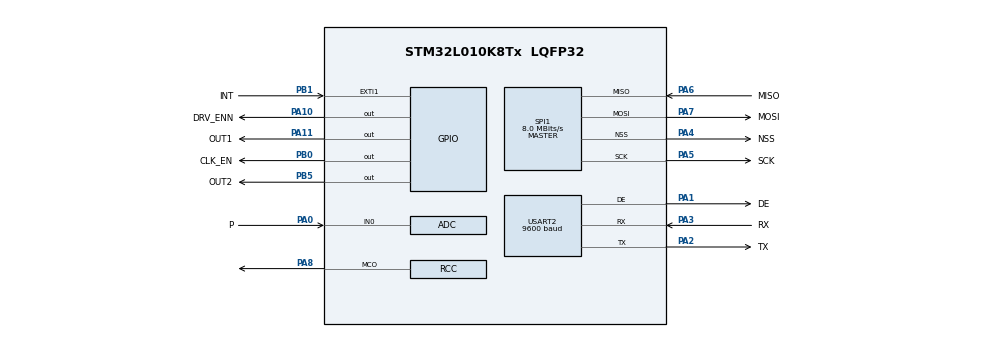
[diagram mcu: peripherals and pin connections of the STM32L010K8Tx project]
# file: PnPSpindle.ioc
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ADC.ClockPrescaler=ADC_CLOCK_SYNC_PCLK_DIV4
ADC.ContinuousConvMode=ENABLE
ADC.Overrun=ADC_OVR_DATA_OVERWRITTEN
ADC.OversamplingMode=ENABLE
ADC.Ratio=ADC_OVERSAMPLING_RATIO_16
ADC.RightBitShift=ADC_RIGHTBITSHIFT_4
ADC.SamplingTime=ADC_SAMPLETIME_160CYCLES_5
CRC.CRCLength=CRC_POLYLENGTH_8B
CRC.DefaultInitValueUse=DEFAULT_INIT_VALUE_DISABLE
CRC.DefaultPolynomialUse=DEFAULT_POLYNOMIAL_DISABLE
CRC.GeneratingPolynomial=X6+X3+X2+X0
CRC.InitValue=0xFF
CRC.InputDataInversionMode=CRC_INPUTDATA_INVERSION_BYTE
CRC.OutputDataInversionMode=CRC_OUTPUTDATA_INVERSION_ENABLE
Mcu.Family=STM32L0
Mcu.Name=STM32L010K8Tx
Mcu.Package=LQFP32
NVIC.ADC1_IRQn=true\:3\:0\:true\:false\:true\:true\:true
NVIC.EXTI0_1_IRQn=true\:2\:0\:true\:false\:true\:true\:true
NVIC.USART2_IRQn=true\:1\:0\:true\:false\:true\:true\:true
PA0.GPIO_Label=P
PA0.Mode=IN0
PA0.Signal=ADC_IN0
PA1.GPIO_Label=DE
PA1.GPIO_Speed=GPIO_SPEED_FREQ_MEDIUM
PA1.Mode=Hardware Flow Control (RS485)
PA1.Signal=USART2_DE
PA10.GPIO_Label=DRV_ENN
PA10.GPIO_ModeDefaultOutputPP=GPIO_MODE_OUTPUT_OD
PA10.PinState=GPIO_PIN_SET
PA10.Signal=GPIO_Output
PA11.GPIO_Label=OUT1
PA11.Signal=GPIO_Output
PA13.Mode=Serial_Wire
PA13.Signal=SYS_SWDIO
PA14.Mode=Serial_Wire
PA14.Signal=SYS_SWCLK
PA2.GPIO_Label=TX
PA2.GPIO_Speed=GPIO_SPEED_FREQ_MEDIUM
PA2.Mode=Asynchronous
PA2.Signal=USART2_TX
PA3.GPIO_Label=RX
PA3.GPIO_Speed=GPIO_SPEED_FREQ_MEDIUM
PA3.Mode=Asynchronous
PA3.Signal=USART2_RX
PA4.GPIO_Label=NSS
PA4.GPIO_PuPd=GPIO_PULLUP
PA4.GPIO_Speed=GPIO_SPEED_FREQ_HIGH
PA4.Mode=NSS_Signal_Hard_Output
PA4.Signal=SPI1_NSS
PA5.GPIO_Label=SCK
PA5.GPIO_Speed=GPIO_SPEED_FREQ_HIGH
PA5.Mode=Full_Duplex_Master
PA5.Signal=SPI1_SCK
PA6.GPIO_Label=MISO
PA6.GPIO_Speed=GPIO_SPEED_FREQ_HIGH
PA6.Mode=Full_Duplex_Master
PA6.Signal=SPI1_MISO
PA7.GPIO_Label=MOSI
PA7.GPIO_Speed=GPIO_SPEED_FREQ_HIGH
PA7.Mode=Full_Duplex_Master
PA7.Signal=SPI1_MOSI
PA8.GPIO_Speed=GPIO_SPEED_FREQ_VERY_HIGH
PA8.Mode=Clock-out
PA8.Signal=RCC_MCO
PB0.GPIO_Label=CLK_EN
PB0.Signal=GPIO_Output
PB1.GPIO_Label=INT
PB1.GPIO_ModeDefaultEXTI=GPIO_MODE_IT_FALLING
PB1.GPIO_PuPd=GPIO_NOPULL
PB1.Signal=GPXTI1
PB5.GPIO_Label=OUT2
PB5.Signal=GPIO_Output
ProjectManager.HeapSize=0x200
ProjectManager.StackSize=0x400
ProjectManager.TargetToolchain=STM32CubeIDE
RCC.AHBFreq_Value=16000000
RCC.APB1Freq_Value=16000000
RCC.APB1TimFreq_Value=16000000
RCC.APB2Freq_Value=16000000
RCC.APB2TimFreq_Value=16000000
RCC.HCLKFreq_Value=16000000
RCC.HSI16_VALUE=16000000
RCC.HSI_VALUE=16000000
RCC.LSE_VALUE=32768
RCC.MSI_VALUE=2097000
RCC.SYSCLKFreq_VALUE=16000000
RCC.SYSCLKSource=RCC_SYSCLKSOURCE_HSI
RCC.VCOOutputFreq_Value=48000000
SPI1.CLKPhase=SPI_PHASE_2EDGE
SPI1.CLKPolarity=SPI_POLARITY_HIGH
SPI1.CalculateBaudRate=8.0 MBits/s
SPI1.Direction=SPI_DIRECTION_2LINES
SPI1.Mode=SPI_MODE_MASTER
SPI1.VirtualNSS=VM_NSSHARD
SPI1.VirtualType=VM_MASTER
USART2.BaudRate=9600
USART2.UART_DEAssertionTime=5
USART2.UART_DEDeassertionTime=5
USART2.VirtualMode-Asynchronous=VM_ASYNC
USART2.VirtualMode-Hardware\ Flow\ Control\ (RS485)=VM_ASYNC
VP_CRC_VS_CRC.Mode=CRC_Activate
VP_IWDG_VS_IWDG.Mode=IWDG_Activate
board=custom

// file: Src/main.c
/* USER CODE BEGIN Header */
/**
  ******************************************************************************
  * @file           : main.c
  * @brief          : Main program body
  ******************************************************************************
  * @attention
  *
  * <h2><center>&copy; Copyright (c) 2020 STMicroelectronics.
  * All rights reserved.</center></h2>
  *
  * This software component is licensed by ST under BSD 3-Clause license,
  * the "License"; You may not use this file except in compliance with the
  * License. You may obtain a copy of the License at:
  *                        opensource.org/licenses/BSD-3-Clause
  *
  ******************************************************************************
  */
/* USER CODE END Header */
#include "main.h"

/* USER CODE BEGIN Includes */
#include <stdlib.h>
#include <string.h>
#include "TMC5072.h"
#include "Commands.h"
#include "ADC.h"
#include "UART.h"
#include "SPI.h"
#include "SysTick.h"
#include "SysControl.h"
#include "Eeprom.h"
/* USER CODE END Includes */

/* USER CODE BEGIN PV */
const UCHAR VersionString[] = SW_VERSION_STR;
/* USER CODE END PV */

void SystemClock_Config(void);
static void MX_GPIO_Init(void);
static void MX_ADC_Init(void);
static void MX_USART2_UART_Init(void);
static void MX_SPI1_Init(void);
static void MX_IWDG_Init(void);
static void MX_CRC_Init(void);
/* USER CODE BEGIN PFP */
static void LoadEeprom();
/* USER CODE END PFP */

/* USER CODE BEGIN 0 */
void ResetCPU(UCHAR ResetPeripherals)
{
  NVIC_SystemReset();
}
/* USER CODE END 0 */

int main(void)
{

  /* MCU Configuration--------------------------------------------------------*/

  /* Reset of all peripherals, Initializes the Flash interface and the Systick. */

  LL_APB2_GRP1_EnableClock(LL_APB2_GRP1_PERIPH_SYSCFG);
  LL_APB1_GRP1_EnableClock(LL_APB1_GRP1_PERIPH_PWR);

  /* System interrupt init*/

  /* Configure the system clock */
  SystemClock_Config();

  /* USER CODE BEGIN SysInit */
  LL_SYSTICK_EnableIT();
  /* USER CODE END SysInit */

  /* Initialize all configured peripherals */
  MX_GPIO_Init();
  MX_ADC_Init();
  MX_USART2_UART_Init();
  MX_SPI1_Init();
  MX_IWDG_Init();
  MX_CRC_Init();
  /* USER CODE BEGIN 2 */

  // Init hardware
  InitEeprom();
  LoadEeprom();
  InitADC();
  InitSPI();
  InitUART(ModuleConfig.SerialBitrate);

  //Wait for TMC5072 to startup
  for (int i = 0; i < 5; ++i)
  {
    LL_mDelay(100);

#if !defined(DEBUG)
    LL_IWDG_ReloadCounter(IWDG);
#endif
  }

  //Init protocol
  InitMotorDrivers();
  InitTMCL();
  SetUARTTransmitDelay(3);
  ENABLE_DRIVERS();

#if !defined(DEBUG)
  LL_IWDG_ReloadCounter(IWDG);
#endif
  /* USER CODE END 2 */

  /* Infinite loop */
  while (1)
  {

    /* USER CODE BEGIN 3 */
    ProcessCommand();
    SystemControl();
    UpdateEeprom();

#if !defined(DEBUG)
    LL_IWDG_ReloadCounter(IWDG);
#endif
  }
  /* USER CODE END 3 */
}

void SystemClock_Config(void)
{
  LL_FLASH_SetLatency(LL_FLASH_LATENCY_0);
  while(LL_FLASH_GetLatency()!= LL_FLASH_LATENCY_0)
  {
  }
  LL_PWR_SetRegulVoltageScaling(LL_PWR_REGU_VOLTAGE_SCALE1);
  LL_RCC_HSI_Enable();

   /* Wait till HSI is ready */
  while(LL_RCC_HSI_IsReady() != 1)
  {

  }
  LL_RCC_HSI_SetCalibTrimming(16);
  LL_RCC_LSI_Enable();

   /* Wait till LSI is ready */
  while(LL_RCC_LSI_IsReady() != 1)
  {

  }
  LL_RCC_SetAHBPrescaler(LL_RCC_SYSCLK_DIV_1);
  LL_RCC_SetAPB1Prescaler(LL_RCC_APB1_DIV_1);
  LL_RCC_SetAPB2Prescaler(LL_RCC_APB2_DIV_1);
  LL_RCC_SetSysClkSource(LL_RCC_SYS_CLKSOURCE_HSI);

   /* Wait till System clock is ready */
  while(LL_RCC_GetSysClkSource() != LL_RCC_SYS_CLKSOURCE_STATUS_HSI)
  {

  }

  LL_Init1msTick(16000000);

  LL_SetSystemCoreClock(16000000);
  LL_RCC_SetUSARTClockSource(LL_RCC_USART2_CLKSOURCE_PCLK1);
  LL_RCC_ConfigMCO(LL_RCC_MCO1SOURCE_SYSCLK, LL_RCC_MCO1_DIV_1);
}

static void MX_ADC_Init(void)
{

  LL_ADC_REG_InitTypeDef ADC_REG_InitStruct = {0};
  LL_ADC_InitTypeDef ADC_InitStruct = {0};

  LL_GPIO_InitTypeDef GPIO_InitStruct = {0};

  /* Peripheral clock enable */
  LL_APB2_GRP1_EnableClock(LL_APB2_GRP1_PERIPH_ADC1);

  LL_IOP_GRP1_EnableClock(LL_IOP_GRP1_PERIPH_GPIOA);
  /**ADC GPIO Configuration
  PA0   ------> ADC_IN0
  */
  GPIO_InitStruct.Pin = P_Pin;
  GPIO_InitStruct.Mode = LL_GPIO_MODE_ANALOG;
  GPIO_InitStruct.Pull = LL_GPIO_PULL_NO;
  LL_GPIO_Init(P_GPIO_Port, &GPIO_InitStruct);

  /* ADC interrupt Init */
  NVIC_SetPriority(ADC1_IRQn, 3);
  NVIC_EnableIRQ(ADC1_IRQn);

  /** Configure Regular Channel
  */
  LL_ADC_REG_SetSequencerChAdd(ADC1, LL_ADC_CHANNEL_0);
  /** Common config
  */
  ADC_REG_InitStruct.TriggerSource = LL_ADC_REG_TRIG_SOFTWARE;
  ADC_REG_InitStruct.SequencerDiscont = LL_ADC_REG_SEQ_DISCONT_DISABLE;
  ADC_REG_InitStruct.ContinuousMode = LL_ADC_REG_CONV_CONTINUOUS;
  ADC_REG_InitStruct.DMATransfer = LL_ADC_REG_DMA_TRANSFER_NONE;
  ADC_REG_InitStruct.Overrun = LL_ADC_REG_OVR_DATA_OVERWRITTEN;
  LL_ADC_REG_Init(ADC1, &ADC_REG_InitStruct);
  LL_ADC_SetSamplingTimeCommonChannels(ADC1, LL_ADC_SAMPLINGTIME_160CYCLES_5);
  LL_ADC_SetOverSamplingScope(ADC1, LL_ADC_OVS_GRP_REGULAR_CONTINUED);
  LL_ADC_ConfigOverSamplingRatioShift(ADC1, LL_ADC_OVS_RATIO_16, LL_ADC_OVS_SHIFT_RIGHT_4);
  LL_ADC_SetOverSamplingDiscont(ADC1, LL_ADC_OVS_REG_CONT);
  LL_ADC_REG_SetSequencerScanDirection(ADC1, LL_ADC_REG_SEQ_SCAN_DIR_FORWARD);
  LL_ADC_SetCommonFrequencyMode(__LL_ADC_COMMON_INSTANCE(ADC1), LL_ADC_CLOCK_FREQ_MODE_HIGH);
  LL_ADC_DisableIT_EOC(ADC1);
  LL_ADC_DisableIT_EOS(ADC1);

   /* Enable ADC internal voltage regulator */
   LL_ADC_EnableInternalRegulator(ADC1);
   /* Delay for ADC internal voltage regulator stabilization. */
   /* Compute number of CPU cycles to wait for, from delay in us. */
   /* Note: Variable divided by 2 to compensate partially */
   /* CPU processing cycles (depends on compilation optimization). */
   /* Note: If system core clock frequency is below 200kHz, wait time */
   /* is only a few CPU processing cycles. */
   uint32_t wait_loop_index;
   wait_loop_index = ((LL_ADC_DELAY_INTERNAL_REGUL_STAB_US * (SystemCoreClock / (100000 * 2))) / 10);
   while(wait_loop_index != 0)
     {
   wait_loop_index--;
     }
  ADC_InitStruct.Clock = LL_ADC_CLOCK_SYNC_PCLK_DIV4;
  ADC_InitStruct.Resolution = LL_ADC_RESOLUTION_12B;
  ADC_InitStruct.DataAlignment = LL_ADC_DATA_ALIGN_RIGHT;
  ADC_InitStruct.LowPowerMode = LL_ADC_LP_MODE_NONE;
  LL_ADC_Init(ADC1, &ADC_InitStruct);

}

static void MX_CRC_Init(void)
{

  /* Peripheral clock enable */
  LL_AHB1_GRP1_EnableClock(LL_AHB1_GRP1_PERIPH_CRC);

  LL_CRC_SetInputDataReverseMode(CRC, LL_CRC_INDATA_REVERSE_BYTE);
  LL_CRC_SetOutputDataReverseMode(CRC, LL_CRC_OUTDATA_REVERSE_BIT);
  LL_CRC_SetInitialData(CRC, 0xFF);
  LL_CRC_SetPolynomialCoef(CRC, 77);
  LL_CRC_SetPolynomialSize(CRC, LL_CRC_POLYLENGTH_8B);

}

static void MX_IWDG_Init(void)
{

  /* USER CODE BEGIN IWDG_Init 0 */
#if !defined(DEBUG) // Don't set IWDG
  /* USER CODE END IWDG_Init 0 */

  LL_IWDG_Enable(IWDG);
  LL_IWDG_EnableWriteAccess(IWDG);
  LL_IWDG_SetPrescaler(IWDG, LL_IWDG_PRESCALER_4);
  LL_IWDG_SetReloadCounter(IWDG, 4095);
  while (LL_IWDG_IsReady(IWDG) != 1)
  {
  }

  LL_IWDG_ReloadCounter(IWDG);
  /* USER CODE BEGIN IWDG_Init 2 */
#endif
  /* USER CODE END IWDG_Init 2 */

}

static void MX_SPI1_Init(void)
{

  LL_SPI_InitTypeDef SPI_InitStruct = {0};

  LL_GPIO_InitTypeDef GPIO_InitStruct = {0};

  /* Peripheral clock enable */
  LL_APB2_GRP1_EnableClock(LL_APB2_GRP1_PERIPH_SPI1);

  LL_IOP_GRP1_EnableClock(LL_IOP_GRP1_PERIPH_GPIOA);
  /**SPI1 GPIO Configuration
  PA4   ------> SPI1_NSS
  PA5   ------> SPI1_SCK
  PA6   ------> SPI1_MISO
  PA7   ------> SPI1_MOSI
  */
  GPIO_InitStruct.Pin = NSS_Pin;
  GPIO_InitStruct.Mode = LL_GPIO_MODE_ALTERNATE;
  GPIO_InitStruct.Speed = LL_GPIO_SPEED_FREQ_HIGH;
  GPIO_InitStruct.OutputType = LL_GPIO_OUTPUT_PUSHPULL;
  GPIO_InitStruct.Pull = LL_GPIO_PULL_UP;
  GPIO_InitStruct.Alternate = LL_GPIO_AF_0;
  LL_GPIO_Init(NSS_GPIO_Port, &GPIO_InitStruct);

  GPIO_InitStruct.Pin = SCK_Pin;
  GPIO_InitStruct.Mode = LL_GPIO_MODE_ALTERNATE;
  GPIO_InitStruct.Speed = LL_GPIO_SPEED_FREQ_HIGH;
  GPIO_InitStruct.OutputType = LL_GPIO_OUTPUT_PUSHPULL;
  GPIO_InitStruct.Pull = LL_GPIO_PULL_NO;
  GPIO_InitStruct.Alternate = LL_GPIO_AF_0;
  LL_GPIO_Init(SCK_GPIO_Port, &GPIO_InitStruct);

  GPIO_InitStruct.Pin = MISO_Pin;
  GPIO_InitStruct.Mode = LL_GPIO_MODE_ALTERNATE;
  GPIO_InitStruct.Speed = LL_GPIO_SPEED_FREQ_HIGH;
  GPIO_InitStruct.OutputType = LL_GPIO_OUTPUT_PUSHPULL;
  GPIO_InitStruct.Pull = LL_GPIO_PULL_NO;
  GPIO_InitStruct.Alternate = LL_GPIO_AF_0;
  LL_GPIO_Init(MISO_GPIO_Port, &GPIO_InitStruct);

  GPIO_InitStruct.Pin = MOSI_Pin;
  GPIO_InitStruct.Mode = LL_GPIO_MODE_ALTERNATE;
  GPIO_InitStruct.Speed = LL_GPIO_SPEED_FREQ_HIGH;
  GPIO_InitStruct.OutputType = LL_GPIO_OUTPUT_PUSHPULL;
  GPIO_InitStruct.Pull = LL_GPIO_PULL_NO;
  GPIO_InitStruct.Alternate = LL_GPIO_AF_0;
  LL_GPIO_Init(MOSI_GPIO_Port, &GPIO_InitStruct);

  /* SPI1 parameter configuration*/
  SPI_InitStruct.TransferDirection = LL_SPI_FULL_DUPLEX;
  SPI_InitStruct.Mode = LL_SPI_MODE_MASTER;
  SPI_InitStruct.DataWidth = LL_SPI_DATAWIDTH_8BIT;
  SPI_InitStruct.ClockPolarity = LL_SPI_POLARITY_HIGH;
  SPI_InitStruct.ClockPhase = LL_SPI_PHASE_2EDGE;
  SPI_InitStruct.NSS = LL_SPI_NSS_HARD_OUTPUT;
  SPI_InitStruct.BaudRate = LL_SPI_BAUDRATEPRESCALER_DIV2;
  SPI_InitStruct.BitOrder = LL_SPI_MSB_FIRST;
  SPI_InitStruct.CRCCalculation = LL_SPI_CRCCALCULATION_DISABLE;
  SPI_InitStruct.CRCPoly = 7;
  LL_SPI_Init(SPI1, &SPI_InitStruct);
  LL_SPI_SetStandard(SPI1, LL_SPI_PROTOCOL_MOTOROLA);

}

static void MX_USART2_UART_Init(void)
{

  LL_USART_InitTypeDef USART_InitStruct = {0};

  LL_GPIO_InitTypeDef GPIO_InitStruct = {0};

  /* Peripheral clock enable */
  LL_APB1_GRP1_EnableClock(LL_APB1_GRP1_PERIPH_USART2);

  LL_IOP_GRP1_EnableClock(LL_IOP_GRP1_PERIPH_GPIOA);
  /**USART2 GPIO Configuration
  PA1   ------> USART2_DE
  PA2   ------> USART2_TX
  PA3   ------> USART2_RX
  */
  GPIO_InitStruct.Pin = DE_Pin;
  GPIO_InitStruct.Mode = LL_GPIO_MODE_ALTERNATE;
  GPIO_InitStruct.Speed = LL_GPIO_SPEED_FREQ_MEDIUM;
  GPIO_InitStruct.OutputType = LL_GPIO_OUTPUT_PUSHPULL;
  GPIO_InitStruct.Pull = LL_GPIO_PULL_NO;
  GPIO_InitStruct.Alternate = LL_GPIO_AF_4;
  LL_GPIO_Init(DE_GPIO_Port, &GPIO_InitStruct);

  GPIO_InitStruct.Pin = TX_Pin;
  GPIO_InitStruct.Mode = LL_GPIO_MODE_ALTERNATE;
  GPIO_InitStruct.Speed = LL_GPIO_SPEED_FREQ_MEDIUM;
  GPIO_InitStruct.OutputType = LL_GPIO_OUTPUT_PUSHPULL;
  GPIO_InitStruct.Pull = LL_GPIO_PULL_NO;
  GPIO_InitStruct.Alternate = LL_GPIO_AF_4;
  LL_GPIO_Init(TX_GPIO_Port, &GPIO_InitStruct);

  GPIO_InitStruct.Pin = RX_Pin;
  GPIO_InitStruct.Mode = LL_GPIO_MODE_ALTERNATE;
  GPIO_InitStruct.Speed = LL_GPIO_SPEED_FREQ_MEDIUM;
  GPIO_InitStruct.OutputType = LL_GPIO_OUTPUT_PUSHPULL;
  GPIO_InitStruct.Pull = LL_GPIO_PULL_NO;
  GPIO_InitStruct.Alternate = LL_GPIO_AF_4;
  LL_GPIO_Init(RX_GPIO_Port, &GPIO_InitStruct);

  /* USART2 interrupt Init */
  NVIC_SetPriority(USART2_IRQn, 1);
  NVIC_EnableIRQ(USART2_IRQn);

  USART_InitStruct.BaudRate = 9600;
  USART_InitStruct.DataWidth = LL_USART_DATAWIDTH_8B;
  USART_InitStruct.StopBits = LL_USART_STOPBITS_1;
  USART_InitStruct.Parity = LL_USART_PARITY_NONE;
  USART_InitStruct.TransferDirection = LL_USART_DIRECTION_TX_RX;
  USART_InitStruct.HardwareFlowControl = LL_USART_HWCONTROL_NONE;
  USART_InitStruct.OverSampling = LL_USART_OVERSAMPLING_16;
  LL_USART_Init(USART2, &USART_InitStruct);
  LL_USART_EnableDEMode(USART2);
  LL_USART_SetDESignalPolarity(USART2, LL_USART_DE_POLARITY_HIGH);
  LL_USART_SetDEAssertionTime(USART2, 5);
  LL_USART_SetDEDeassertionTime(USART2, 5);
  LL_USART_ConfigAsyncMode(USART2);
  LL_USART_Enable(USART2);

}

static void MX_GPIO_Init(void)
{
  LL_EXTI_InitTypeDef EXTI_InitStruct = {0};
  LL_GPIO_InitTypeDef GPIO_InitStruct = {0};

  /* GPIO Ports Clock Enable */
  LL_IOP_GRP1_EnableClock(LL_IOP_GRP1_PERIPH_GPIOA);
  LL_IOP_GRP1_EnableClock(LL_IOP_GRP1_PERIPH_GPIOB);

  /**/
  LL_GPIO_ResetOutputPin(CLK_EN_GPIO_Port, CLK_EN_Pin);

  /**/
  LL_GPIO_ResetOutputPin(OUT1_GPIO_Port, OUT1_Pin);

  /**/
  LL_GPIO_ResetOutputPin(OUT2_GPIO_Port, OUT2_Pin);

  /**/
  LL_GPIO_SetOutputPin(DRV_ENN_GPIO_Port, DRV_ENN_Pin);

  /**/
  GPIO_InitStruct.Pin = CLK_EN_Pin;
  GPIO_InitStruct.Mode = LL_GPIO_MODE_OUTPUT;
  GPIO_InitStruct.Speed = LL_GPIO_SPEED_FREQ_LOW;
  GPIO_InitStruct.OutputType = LL_GPIO_OUTPUT_PUSHPULL;
  GPIO_InitStruct.Pull = LL_GPIO_PULL_NO;
  LL_GPIO_Init(CLK_EN_GPIO_Port, &GPIO_InitStruct);

  /**/
  GPIO_InitStruct.Pin = LL_GPIO_PIN_8;
  GPIO_InitStruct.Mode = LL_GPIO_MODE_ALTERNATE;
  GPIO_InitStruct.Speed = LL_GPIO_SPEED_FREQ_VERY_HIGH;
  GPIO_InitStruct.OutputType = LL_GPIO_OUTPUT_PUSHPULL;
  GPIO_InitStruct.Pull = LL_GPIO_PULL_NO;
  GPIO_InitStruct.Alternate = LL_GPIO_AF_0;
  LL_GPIO_Init(GPIOA, &GPIO_InitStruct);

  /**/
  GPIO_InitStruct.Pin = DRV_ENN_Pin;
  GPIO_InitStruct.Mode = LL_GPIO_MODE_OUTPUT;
  GPIO_InitStruct.Speed = LL_GPIO_SPEED_FREQ_LOW;
  GPIO_InitStruct.OutputType = LL_GPIO_OUTPUT_OPENDRAIN;
  GPIO_InitStruct.Pull = LL_GPIO_PULL_NO;
  LL_GPIO_Init(DRV_ENN_GPIO_Port, &GPIO_InitStruct);

  /**/
  GPIO_InitStruct.Pin = OUT1_Pin;
  GPIO_InitStruct.Mode = LL_GPIO_MODE_OUTPUT;
  GPIO_InitStruct.Speed = LL_GPIO_SPEED_FREQ_LOW;
  GPIO_InitStruct.OutputType = LL_GPIO_OUTPUT_PUSHPULL;
  GPIO_InitStruct.Pull = LL_GPIO_PULL_NO;
  LL_GPIO_Init(OUT1_GPIO_Port, &GPIO_InitStruct);

  /**/
  GPIO_InitStruct.Pin = OUT2_Pin;
  GPIO_InitStruct.Mode = LL_GPIO_MODE_OUTPUT;
  GPIO_InitStruct.Speed = LL_GPIO_SPEED_FREQ_LOW;
  GPIO_InitStruct.OutputType = LL_GPIO_OUTPUT_PUSHPULL;
  GPIO_InitStruct.Pull = LL_GPIO_PULL_NO;
  LL_GPIO_Init(OUT2_GPIO_Port, &GPIO_InitStruct);

  /**/
  LL_SYSCFG_SetEXTISource(LL_SYSCFG_EXTI_PORTB, LL_SYSCFG_EXTI_LINE1);

  /**/
  LL_GPIO_SetPinPull(INT_GPIO_Port, INT_Pin, LL_GPIO_PULL_NO);

  /**/
  LL_GPIO_SetPinMode(INT_GPIO_Port, INT_Pin, LL_GPIO_MODE_INPUT);

  /**/
  EXTI_InitStruct.Line_0_31 = LL_EXTI_LINE_1;
  EXTI_InitStruct.LineCommand = ENABLE;
  EXTI_InitStruct.Mode = LL_EXTI_MODE_IT;
  EXTI_InitStruct.Trigger = LL_EXTI_TRIGGER_FALLING;
  LL_EXTI_Init(&EXTI_InitStruct);

  /* EXTI interrupt init*/
  NVIC_SetPriority(EXTI0_1_IRQn, 2);
  NVIC_EnableIRQ(EXTI0_1_IRQn);

}

/* USER CODE BEGIN 4 */

/***************************************************************//**
   \fn LoadEeprom()
   \brief Load Data from EEPROM
********************************************************************/
static void LoadEeprom()
{
  UCHAR valid;
  {
    TModuleEeprom* eeprom = GetModuleEeprom(&valid);
    if (valid)
    {
      memcpy(&ModuleConfig, &(eeprom->config), sizeof(TModuleConfig));  //Take data from EEPROM
    }
    else
    {
      memcpy(&(eeprom->config), &ModuleConfig, sizeof(TModuleConfig));  //Put default data to EEPROM
    }
  }

  for (int i = 0; i < N_O_MOTORS; ++i)
  {
    TMotorEeprom* eeprom = GetMotorEeprom(i, &valid);
    if (valid)
    {
      memcpy(&MotorConfig[i], &(eeprom->config), sizeof(TMotorConfig));  //Take data from EEPROM
    }
    else
    {
      memcpy(&(eeprom->config), &MotorConfig[i], sizeof(TMotorConfig));  //Put default data to EEPROM
    }
  }
}

/* USER CODE END 4 */

void Error_Handler(void)
{
}

/************************ (C) COPYRIGHT STMicroelectronics *****END OF FILE****/
